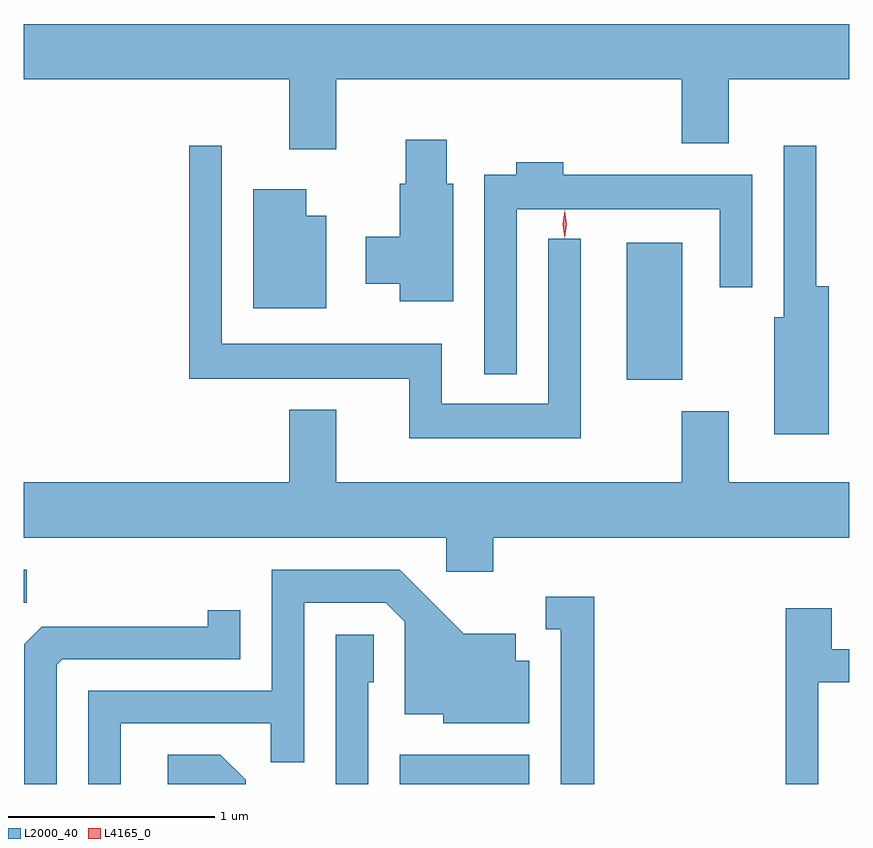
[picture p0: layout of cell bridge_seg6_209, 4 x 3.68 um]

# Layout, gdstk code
import gdstk
lib = gdstk.Library(unit=1e-6, precision=1e-09)
def R(c, l, rs):  # rectangles x0, y0, x1, y1
    for r in rs: c.add(gdstk.rectangle(r[:2], r[2:], *l))
def P(c, l, *ps):  # polygons
    for p in ps: c.add(gdstk.Polygon(p, *l))
L2000_40 = (2000, 40)
L4165_0 = (4165, 0)

bridge_seg6_209 = lib.new_cell('bridge_seg6_209')
R(bridge_seg6_209, L2000_40, [(1048.506,1562.162,1049.134,1562.304), (1046.684,1563.041,1046.698,1563.199), (1049.606,1564.121,1049.874,1564.784)])
P(bridge_seg6_209, L2000_40, [(1048.199,1565.576),(1049.871,1565.576),(1049.871,1565.266),(1050.099,1565.266),(1050.099,1565.576),(1050.684,1565.576),(1050.684,1565.844),(1046.684,1565.844),(1046.684,1565.576),(1047.971,1565.576),(1047.971,1565.236),(1048.199,1565.236)],
  [(1048.764,1565.069),(1048.734,1565.069),(1048.734,1565.284),(1048.536,1565.284),(1048.536,1565.069),(1048.506,1565.069),(1048.506,1564.814),(1048.341,1564.814),(1048.341,1564.586),(1048.506,1564.586),(1048.506,1564.501),(1048.764,1564.501)],
  [(1049.384,1564.803),(1049.226,1564.803),(1049.226,1564.004),(1048.709,1564.004),(1048.709,1564.294),(1047.644,1564.294),(1047.644,1565.253),(1047.486,1565.253),(1047.486,1564.126),(1048.551,1564.126),(1048.551,1563.836),(1049.384,1563.836)],
  [(1050.584,1564.574),(1050.524,1564.574),(1050.524,1565.253),(1050.366,1565.253),(1050.366,1564.424),(1050.321,1564.424),(1050.321,1563.856),(1050.584,1563.856)],
  [(1049.074,1564.946),(1050.056,1564.946),(1050.056,1564.568),(1050.214,1564.568),(1050.214,1565.114),(1049.299,1565.114),(1049.299,1565.174),(1049.071,1565.174),(1049.071,1565.114),(1048.916,1565.114),(1048.916,1564.148),(1049.074,1564.148)],
  [(1048.149,1564.914),(1048.054,1564.914),(1048.054,1565.044),(1047.796,1565.044),(1047.796,1564.466),(1048.149,1564.466)],
  [(1048.959,1563.356),(1050.684,1563.356),(1050.684,1563.624),(1050.099,1563.624),(1050.099,1563.969),(1049.871,1563.969),(1049.871,1563.624),(1048.199,1563.624),(1048.199,1563.974),(1047.971,1563.974),(1047.971,1563.624),(1046.684,1563.624),(1046.684,1563.356),(1048.731,1563.356),(1048.731,1563.191),(1048.959,1563.191)],
  [(1047.154,1562.456),(1047.881,1562.456),(1047.881,1562.268),(1048.044,1562.268),(1048.044,1563.041),(1048.439,1563.041),(1048.531,1562.949),(1048.531,1562.501),(1048.716,1562.501),(1048.716,1562.456),(1049.134,1562.456),(1049.134,1562.759),(1049.069,1562.759),(1049.069,1562.889),(1048.817,1562.889),(1048.507,1563.199),(1047.886,1563.199),(1047.886,1562.614),(1046.996,1562.614),(1046.996,1562.162),(1047.154,1562.162)],
  [(1049.449,1563.069),(1049.213,1563.069),(1049.213,1562.911),(1049.286,1562.911),(1049.286,1562.162),(1049.449,1562.162)],
  [(1050.534,1562.656),(1050.684,1562.656),(1050.684,1562.814),(1050.599,1562.814),(1050.599,1563.014),(1050.376,1563.014),(1050.376,1562.162),(1050.534,1562.162)],
  [(1046.844,1562.739),(1046.872,1562.766),(1047.734,1562.766),(1047.734,1563.003),(1047.576,1563.003),(1047.576,1562.924),(1046.772,1562.924),(1046.686,1562.839),(1046.686,1562.162),(1046.844,1562.162)],
  [(1048.354,1562.656),(1048.379,1562.656),(1048.379,1562.884),(1048.196,1562.884),(1048.196,1562.162),(1048.354,1562.162)],
  [(1047.759,1562.182),(1047.637,1562.304),(1047.381,1562.304),(1047.381,1562.162),(1047.759,1562.162)])
P(bridge_seg6_209, L4165_0, [(1049.305,1564.807),(1049.305,1564.808),(1049.295,1564.874),(1049.305,1564.94),(1049.305,1564.941),(1049.306,1564.94),(1049.315,1564.874),(1049.306,1564.808)])

lib.write_gds('bridge_seg6_209.gds')
